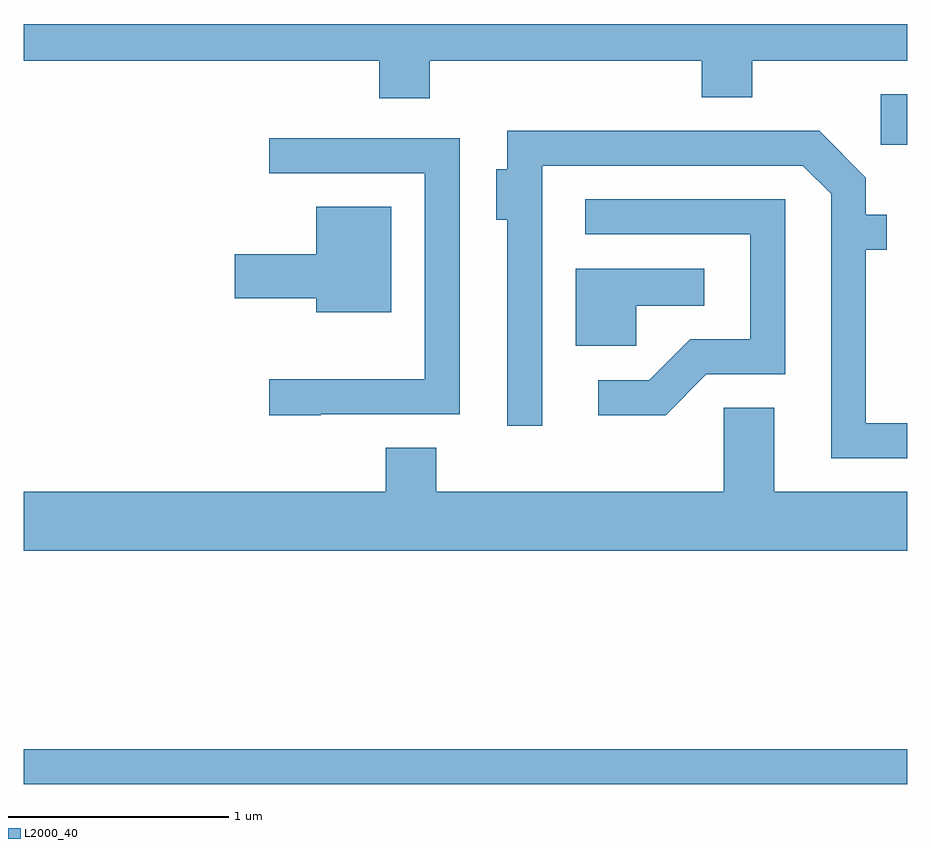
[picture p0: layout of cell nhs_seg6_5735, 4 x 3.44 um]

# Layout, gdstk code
import gdstk
lib = gdstk.Library(unit=1e-6, precision=1e-09)
def R(c, l, rs):  # rectangles x0, y0, x1, y1
    for r in rs: c.add(gdstk.rectangle(r[:2], r[2:], *l))
def P(c, l, *ps):  # polygons
    for p in ps: c.add(gdstk.Polygon(p, *l))
L2000_40 = (2000, 40)

nhs_seg6_5735 = lib.new_cell('nhs_seg6_5735')
R(nhs_seg6_5735, L2000_40, [(359.611,1586.721,363.611,1586.879), (363.491,1589.616,363.611,1589.844)])
P(nhs_seg6_5735, L2000_40, [(361.449,1589.996),(362.681,1589.996),(362.681,1589.831),(362.909,1589.831),(362.909,1589.996),(363.611,1589.996),(363.611,1590.162),(359.611,1590.162),(359.611,1589.996),(361.221,1589.996),(361.221,1589.826),(361.449,1589.826)],
  [(363.611,1588.354),(363.424,1588.354),(363.424,1589.141),(363.519,1589.141),(363.519,1589.299),(363.424,1589.299),(363.424,1589.467),(363.212,1589.679),(361.801,1589.679),(361.801,1589.504),(361.751,1589.504),(361.751,1589.276),(361.801,1589.276),(361.801,1588.343),(361.959,1588.343),(361.959,1589.521),(363.139,1589.521),(363.266,1589.394),(363.266,1588.196),(363.611,1588.196)],
  [(360.955,1588.396),(361.584,1588.396),(361.584,1589.644),(360.723,1589.644),(360.723,1589.486),(361.426,1589.486),(361.426,1588.554),(360.723,1588.554),(360.723,1588.391),(360.955,1588.391)],
  [(362.702,1588.576),(363.059,1588.576),(363.059,1589.369),(362.153,1589.369),(362.153,1589.211),(362.901,1589.211),(362.901,1588.734),(362.629,1588.734),(362.444,1588.549),(362.213,1588.549),(362.213,1588.391),(362.517,1588.391)],
  [(361.274,1589.334),(360.936,1589.334),(360.936,1589.119),(360.566,1589.119),(360.566,1588.921),(360.936,1588.921),(360.936,1588.856),(361.274,1588.856)],
  [(362.384,1588.886),(362.693,1588.886),(362.693,1589.054),(362.111,1589.054),(362.111,1588.706),(362.384,1588.706)],
  [(363.611,1588.044),(363.009,1588.044),(363.009,1588.424),(362.781,1588.424),(362.781,1588.044),(361.479,1588.044),(361.479,1588.244),(361.251,1588.244),(361.251,1588.044),(359.611,1588.044),(359.611,1587.776),(363.611,1587.776)])

lib.write_gds('nhs_seg6_5735.gds')
